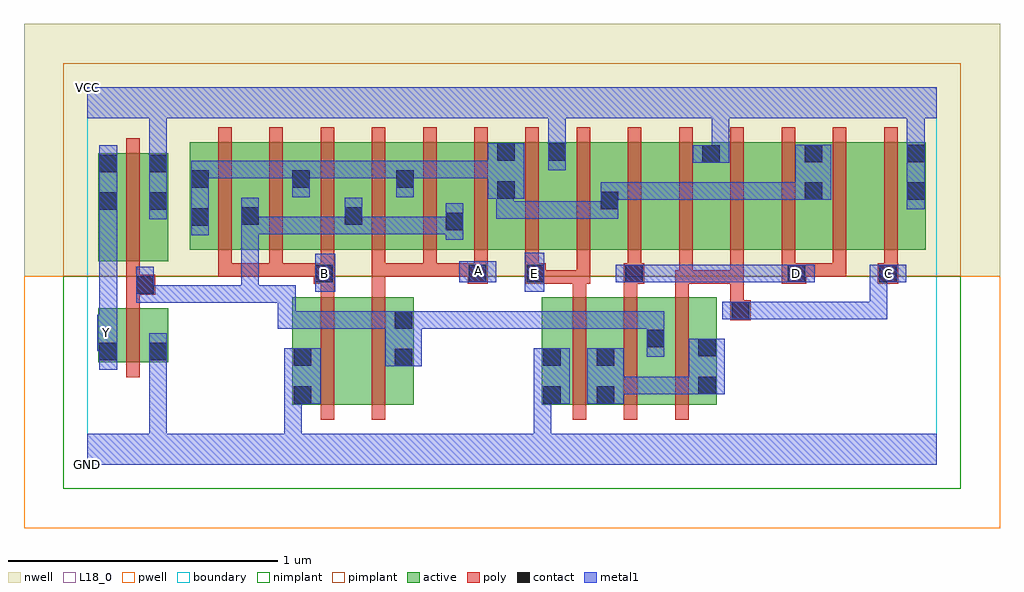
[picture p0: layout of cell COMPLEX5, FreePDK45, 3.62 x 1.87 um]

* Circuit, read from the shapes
.subckt COMPLEX5 A B C D E GND VCC Y
M1 GND n1 Y VSUBS nfet w=0.2u l=0.05u
M2 n2 B GND VSUBS nfet w=0.4u l=0.05u
M3 n1 A n2 VSUBS nfet w=0.4u l=0.05u
M4 n3 E GND VSUBS nfet w=0.4u l=0.05u
M5 n1 D n3 VSUBS nfet w=0.4u l=0.05u
M6 n3 C n1 VSUBS nfet w=0.4u l=0.05u
M7 VCC n1 Y n4 pfet w=0.4u l=0.05u
M8 n1 B n5 n4 pfet w=0.4u l=0.05u m=3
M9 n5 A n1 n4 pfet w=0.4u l=0.05u m=3
M10 VCC E n5 n4 pfet w=0.4u l=0.05u m=2
M11 n6 D n5 n4 pfet w=0.4u l=0.05u
M12 VCC C n6 n4 pfet w=0.4u l=0.05u
M13 n7 C VCC n4 pfet w=0.4u l=0.05u
M14 n5 D n7 n4 pfet w=0.4u l=0.05u
M15 n8 D n5 n4 pfet w=0.4u l=0.05u
M16 VCC C n8 n4 pfet w=0.4u l=0.05u
.ends

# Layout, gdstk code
import gdstk
lib = gdstk.Library(unit=1e-6, precision=1e-09)
def R(c, l, rs):  # rectangles x0, y0, x1, y1
    for r in rs: c.add(gdstk.rectangle(r[:2], r[2:], *l))
def A(c, l, x, y, w, h, nx, ny, dx, dy):  # array of equal rectangles
    R(c, l, [(x+i*dx, y+j*dy, x+i*dx+w, y+j*dy+h) for i in range(nx) for j in range(ny)])
active = (1, 0)
pwell = (2, 0)
nwell = (3, 0)
nimplant = (4, 0)
pimplant = (5, 0)
poly = (9, 0)
contact = (10, 0)
metal1 = (11, 0)
L18_0 = (18, 0)
boundary = (235, 0)

complex5 = lib.new_cell('COMPLEX5')
A(complex5, active, 0.38, 0.797, 0.075, 0.358, 3, 1, 0.76, 0)
A(complex5, active, 2.125, 0.797, 0.225, 0.4, 3, 1, 0.38, 0)
A(complex5, active, 2.275, 0.797, 0.075, 0.4, 3, 1, 0.38, 0)
R(complex5, active, [(0.76,0.222,0.835,0.622), (0.76,0.222,0.985,0.622), (0.985,0.222,1.21,0.622), (1.685,0.222,1.96,0.622), (1.685,0.222,1.76,0.622), (1.885,0.222,2.145,0.622), (1.885,0.222,1.96,0.492), (2.07,0.222,2.335,0.622), (1.135,0.245,1.21,0.622), (2.07,0.245,2.145,0.505), (2.26,0.245,2.335,0.622), (0.04,0.38,0.3,0.58), (0.225,0.38,0.3,0.58), (0.04,0.382,0.115,0.58), (0.04,0.755,0.3,1.155), (0.04,0.755,0.115,1.155), (0.225,0.755,0.3,1.155), (0.38,0.797,0.64,1.197), (0.565,0.797,0.83,1.197), (0.565,0.797,0.64,1.07), (0.755,0.797,1.025,1.197), (0.95,0.797,1.215,1.197), (0.95,0.797,1.025,1.07), (1.14,0.797,1.4,1.197), (1.325,0.797,1.59,1.197), (1.325,0.797,1.4,1.07), (1.515,0.797,1.78,1.197), (1.515,0.797,1.59,1.197), (1.705,0.797,1.78,1.197), (1.705,0.797,1.975,1.197), (1.9,0.797,2.125,1.197), (2.275,0.797,2.505,1.197), (2.655,0.797,2.885,1.197), (0.755,0.802,0.83,1.155)])
R(complex5, pwell, [(-0.235,-0.235,3.385,0.7)])
R(complex5, nwell, [(-0.235,0.7,3.385,1.635)])
R(complex5, nimplant, [(-0.09,-0.09,3.24,0.7)])
R(complex5, pimplant, [(-0.09,0.7,3.24,1.49)])
A(complex5, poly, 1.8, 0.167, 0.05, 0.51, 3, 1, 0.19, 0)
A(complex5, poly, 1.8, 0.627, 0.05, 0.095, 3, 1, 0.19, 0)
A(complex5, poly, 0.485, 0.697, 0.05, 0.095, 7, 1, 0.19, 0)
A(complex5, poly, 2.575, 0.697, 0.05, 0.095, 3, 1, 0.19, 0)
A(complex5, poly, 0.485, 0.742, 0.05, 0.51, 14, 1, 0.19, 0)
R(complex5, poly, [(0.865,0.167,0.915,0.677), (1.055,0.167,1.105,0.677), (0.145,0.325,0.195,0.635), (2.385,0.535,2.46,0.61), (2.385,0.56,2.435,0.722), (0.145,0.585,0.195,0.68), (0.865,0.627,0.915,0.722), (1.055,0.627,1.105,0.747), (0.145,0.63,0.252,0.705), (0.145,0.655,0.195,0.75), (0.84,0.672,0.915,0.747), (1.41,0.672,1.485,0.747), (1.625,0.672,1.7,0.747), (1.65,0.672,1.7,0.722), (1.65,0.672,1.7,0.722), (1.65,0.672,1.85,0.722), (1.8,0.672,1.865,0.722), (1.815,0.672,1.865,0.792), (1.99,0.672,2.065,0.747), (2.18,0.672,2.245,0.722), (2.195,0.672,2.245,0.722), (2.195,0.672,2.245,0.722), (2.195,0.672,2.245,0.792), (2.195,0.672,2.435,0.722), (2.385,0.672,2.435,0.722), (2.385,0.672,2.435,0.722), (2.385,0.672,2.435,0.722), (2.385,0.672,2.435,0.792), (2.575,0.672,2.667,0.747), (2.932,0.672,3.007,0.747), (0.485,0.697,0.535,0.747), (0.485,0.697,0.535,0.747), (0.485,0.697,0.535,0.747), (0.485,0.697,0.725,0.747), (0.675,0.697,0.725,0.747), (0.675,0.697,0.725,0.747), (0.675,0.697,0.725,0.747), (0.675,0.697,0.89,0.747), (1.055,0.697,1.105,0.747), (1.055,0.697,1.105,0.747), (1.055,0.697,1.105,0.747), (1.055,0.697,1.295,0.747), (1.245,0.697,1.295,0.747), (1.245,0.697,1.46,0.747), (1.41,0.697,1.46,0.747), (1.41,0.697,1.46,0.747), (2.005,0.697,2.055,0.792), (2.617,0.697,2.815,0.747), (2.765,0.697,2.815,0.747), (2.765,0.697,2.815,0.747), (2.765,0.697,2.815,0.747), (0.145,0.7,0.195,1.21)])
R(complex5, contact, [(0.765,0.227,0.83,0.292), (1.69,0.227,1.755,0.292), (1.89,0.227,1.955,0.292), (2.265,0.262,2.33,0.327), (1.14,0.365,1.205,0.43), (0.765,0.367,0.83,0.432), (1.69,0.367,1.755,0.432), (1.89,0.367,1.955,0.432), (0.045,0.387,0.11,0.452), (0.23,0.387,0.295,0.452), (2.265,0.402,2.33,0.467), (2.075,0.435,2.14,0.5), (1.14,0.505,1.205,0.57), (2.39,0.54,2.455,0.605), (0.182,0.635,0.247,0.7), (0.845,0.677,0.91,0.742), (1.415,0.677,1.48,0.742), (1.63,0.677,1.695,0.742), (1.995,0.677,2.06,0.742), (2.597,0.677,2.662,0.742), (2.937,0.677,3.002,0.742), (1.33,0.87,1.395,0.935), (0.385,0.887,0.45,0.952), (0.57,0.89,0.635,0.955), (0.955,0.89,1.02,0.955), (0.045,0.945,0.11,1.01), (0.23,0.945,0.295,1.01), (1.905,0.947,1.97,1.012), (2.66,0.982,2.725,1.047), (3.04,0.982,3.105,1.047), (1.52,0.987,1.585,1.052), (0.385,1.027,0.45,1.092), (0.76,1.027,0.825,1.092), (1.145,1.027,1.21,1.092), (0.045,1.085,0.11,1.15), (0.23,1.085,0.295,1.15), (2.28,1.12,2.345,1.185), (2.66,1.122,2.725,1.187), (3.04,1.122,3.105,1.187), (1.52,1.127,1.585,1.192), (1.71,1.127,1.775,1.192)])
R(complex5, metal1, [(0,0,3.15,0.115), (0.23,0.05,0.295,0.115), (0.23,0.05,0.295,0.115), (0.23,0.05,0.295,0.115), (0.23,0.05,0.295,0.115), (0.23,0.05,0.295,0.115), (0.23,0.05,0.295,0.115), (0.23,0.05,0.295,0.417), (0.73,0.05,0.795,0.115), (0.73,0.05,0.795,0.115), (0.73,0.05,0.795,0.292), (1.655,0.05,1.72,0.292), (0.73,0.227,0.865,0.432), (1.655,0.227,1.72,0.292), (1.655,0.227,1.72,0.292), (1.655,0.227,1.79,0.432), (1.855,0.227,1.99,0.432), (1.925,0.262,1.99,0.327), (1.925,0.262,1.99,0.327), (1.925,0.262,2.145,0.327), (2.08,0.262,2.145,0.327), (2.08,0.262,2.282,0.327), (2.217,0.262,2.282,0.327), (2.217,0.262,2.295,0.327), (2.23,0.262,2.365,0.467), (0.045,0.352,0.11,0.487), (0.23,0.352,0.295,0.487), (1.105,0.365,1.24,0.57), (2.075,0.4,2.14,0.535), (0.037,0.422,0.11,0.557), (0.045,0.422,0.11,0.487), (2.075,0.47,2.14,0.535), (2.075,0.47,2.14,0.57), (0.045,0.492,0.11,0.975), (0.707,0.505,0.772,0.57), (0.707,0.505,0.772,0.57), (0.707,0.505,0.772,0.57), (0.707,0.505,1.032,0.57), (0.707,0.505,0.772,0.665), (0.967,0.505,1.032,0.57), (0.967,0.505,1.032,0.57), (0.967,0.505,1.032,0.57), (0.967,0.505,1.17,0.57), (1.175,0.505,1.24,0.57), (1.175,0.505,1.24,0.57), (1.175,0.505,1.377,0.57), (1.312,0.505,1.377,0.57), (1.312,0.505,1.377,0.57), (1.312,0.505,1.377,0.57), (1.312,0.505,1.55,0.57), (1.485,0.505,1.55,0.57), (1.485,0.505,1.645,0.57), (1.58,0.505,1.645,0.57), (1.58,0.505,1.782,0.57), (1.717,0.505,1.782,0.57), (1.717,0.505,1.782,0.57), (1.717,0.505,1.782,0.57), (1.717,0.505,1.99,0.57), (1.925,0.505,1.99,0.57), (1.925,0.505,2.14,0.57), (2.355,0.54,2.49,0.605), (2.425,0.54,2.49,0.605), (2.425,0.54,2.49,0.605), (2.425,0.54,2.49,0.605), (2.425,0.54,2.49,0.605), (2.425,0.54,2.692,0.605), (2.627,0.54,2.692,0.605), (2.627,0.54,2.83,0.605), (2.765,0.54,2.83,0.605), (2.765,0.54,2.83,0.605), (2.765,0.54,2.83,0.605), (2.765,0.54,2.967,0.605), (2.902,0.54,2.967,0.605), (2.902,0.54,2.967,0.742), (0.182,0.6,0.247,0.665), (0.182,0.6,0.247,0.665), (0.182,0.6,0.247,0.735), (0.182,0.6,0.432,0.665), (0.367,0.6,0.432,0.665), (0.367,0.6,0.432,0.665), (0.367,0.6,0.432,0.665), (0.367,0.6,0.635,0.665), (0.57,0.6,0.635,0.665), (0.57,0.6,0.635,0.665), (0.57,0.6,0.635,0.665), (0.57,0.6,0.772,0.665), (0.57,0.6,0.635,0.92), (0.707,0.6,0.772,0.665), (0.845,0.642,0.92,0.782), (1.622,0.642,1.695,0.787), (1.38,0.677,1.517,0.755), (1.96,0.677,2.095,0.742), (2.03,0.677,2.127,0.742), (2.062,0.677,2.127,0.742), (2.062,0.677,2.282,0.742), (2.217,0.677,2.282,0.742), (2.217,0.677,2.282,0.742), (2.217,0.677,2.282,0.742), (2.217,0.677,2.42,0.742), (2.355,0.677,2.42,0.742), (2.355,0.677,2.42,0.742), (2.355,0.677,2.42,0.742), (2.355,0.677,2.627,0.742), (2.562,0.677,2.697,0.742), (2.902,0.677,2.967,0.742), (2.902,0.677,2.967,0.742), (2.902,0.677,3.037,0.742), (1.33,0.835,1.395,0.97), (0.385,0.852,0.45,1.127), (0.57,0.855,0.635,0.92), (0.57,0.855,0.635,0.92), (0.57,0.855,0.772,0.92), (0.57,0.855,0.635,0.99), (0.707,0.855,0.772,0.92), (0.707,0.855,0.772,0.92), (0.707,0.855,0.772,0.92), (0.707,0.855,1.02,0.92), (0.955,0.855,1.02,0.92), (0.955,0.855,1.02,0.92), (0.955,0.855,1.02,0.99), (0.955,0.855,1.24,0.92), (1.175,0.855,1.24,0.92), (1.175,0.855,1.24,0.92), (1.175,0.855,1.24,0.92), (1.175,0.855,1.395,0.92), (0.045,0.91,0.11,1.185), (0.23,0.91,0.295,1.185), (1.517,0.912,1.582,0.977), (1.517,0.912,1.645,0.977), (1.517,0.912,1.582,1.052), (1.58,0.912,1.645,0.977), (1.58,0.912,1.782,0.977), (1.717,0.912,1.782,0.977), (1.717,0.912,1.832,0.977), (1.767,0.912,1.832,0.977), (1.767,0.912,1.97,0.977), (1.905,0.912,1.97,1.047), (3.04,0.947,3.105,1.222), (1.905,0.982,1.97,1.047), (1.905,0.982,1.97,1.047), (1.905,0.982,2.127,1.047), (2.062,0.982,2.127,1.047), (2.062,0.982,2.282,1.047), (2.217,0.982,2.282,1.047), (2.217,0.982,2.282,1.047), (2.217,0.982,2.282,1.047), (2.217,0.982,2.42,1.047), (2.355,0.982,2.42,1.047), (2.355,0.982,2.42,1.047), (2.355,0.982,2.42,1.047), (2.355,0.982,2.69,1.047), (2.625,0.982,2.69,1.047), (2.625,0.982,2.69,1.047), (2.625,0.982,2.76,1.187), (1.485,0.987,1.62,1.192), (0.76,0.992,0.825,1.127), (1.145,0.992,1.21,1.127), (0.385,1.062,0.45,1.127), (0.385,1.062,0.45,1.127), (0.385,1.062,0.587,1.127), (0.522,1.062,0.587,1.127), (0.522,1.062,0.587,1.127), (0.522,1.062,0.587,1.127), (0.522,1.062,0.825,1.127), (0.76,1.062,0.825,1.127), (0.76,1.062,0.825,1.127), (0.76,1.062,1.032,1.127), (0.967,1.062,1.032,1.127), (0.967,1.062,1.032,1.127), (0.967,1.062,1.032,1.127), (0.967,1.062,1.21,1.127), (1.145,1.062,1.21,1.127), (1.145,1.062,1.21,1.127), (1.145,1.062,1.412,1.127), (1.347,1.062,1.412,1.127), (1.347,1.062,1.412,1.127), (1.347,1.062,1.412,1.127), (1.347,1.062,1.55,1.127), (1.71,1.092,1.775,1.227), (0.23,1.12,0.295,1.35), (2.245,1.12,2.38,1.185), (2.315,1.12,2.38,1.35), (3.04,1.157,3.105,1.35), (1.71,1.162,1.775,1.35), (0,1.285,3.15,1.4)])
R(complex5, L18_0, [(0,0,3.15,0.115), (0.23,0.05,0.295,0.115), (0.23,0.05,0.295,0.115), (0.23,0.05,0.295,0.115), (0.23,0.05,0.295,0.115), (0.23,0.05,0.295,0.115), (0.23,0.05,0.295,0.115), (0.23,0.05,0.295,0.417), (0.73,0.05,0.795,0.115), (0.73,0.05,0.795,0.115), (0.73,0.05,0.795,0.292), (1.655,0.05,1.72,0.292), (0.73,0.227,0.865,0.432), (1.655,0.227,1.72,0.292), (1.655,0.227,1.72,0.292), (1.655,0.227,1.79,0.432), (0.045,0.352,0.11,0.487), (0.23,0.352,0.295,0.487), (0.037,0.422,0.11,0.557), (0.045,0.422,0.11,0.487), (0.037,0.457,0.102,0.522), (0.045,0.492,0.11,0.975), (2.355,0.54,2.49,0.605), (2.425,0.54,2.49,0.605), (2.425,0.54,2.49,0.605), (2.425,0.54,2.49,0.605), (2.425,0.54,2.49,0.605), (2.425,0.54,2.692,0.605), (2.627,0.54,2.692,0.605), (2.627,0.54,2.83,0.605), (2.765,0.54,2.83,0.605), (2.765,0.54,2.83,0.605), (2.765,0.54,2.83,0.605), (2.765,0.54,2.967,0.605), (2.902,0.54,2.967,0.605), (2.902,0.54,2.967,0.742), (0.845,0.642,0.92,0.782), (1.622,0.642,1.695,0.787), (0.847,0.677,0.912,0.742), (1.38,0.677,1.517,0.755), (1.627,0.677,1.692,0.742), (1.96,0.677,2.095,0.742), (2.03,0.677,2.127,0.742), (2.062,0.677,2.127,0.742), (2.062,0.677,2.282,0.742), (2.217,0.677,2.282,0.742), (2.217,0.677,2.282,0.742), (2.217,0.677,2.282,0.742), (2.217,0.677,2.42,0.742), (2.355,0.677,2.42,0.742), (2.355,0.677,2.42,0.742), (2.355,0.677,2.42,0.742), (2.355,0.677,2.627,0.742), (2.562,0.677,2.697,0.742), (2.597,0.677,2.662,0.742), (2.902,0.677,2.967,0.742), (2.902,0.677,2.967,0.742), (2.902,0.677,3.037,0.742), (2.937,0.677,3.002,0.742), (1.417,0.687,1.482,0.752), (0.045,0.91,0.11,1.185), (0.23,0.91,0.295,1.185), (3.04,0.947,3.105,1.222), (1.71,1.092,1.775,1.227), (0.23,1.12,0.295,1.35), (2.245,1.12,2.38,1.185), (2.315,1.12,2.38,1.35), (3.04,1.157,3.105,1.35), (1.71,1.162,1.775,1.35), (0,1.285,3.15,1.4)])
R(complex5, boundary, [(0,0,3.15,1.4)])
complex5.add(gdstk.Label('A', (1.45,0.72), layer=11, texttype=0))
complex5.add(gdstk.Label('B', (0.88,0.71), layer=11, texttype=0))
complex5.add(gdstk.Label('C', (2.97,0.71), layer=11, texttype=0))
complex5.add(gdstk.Label('D', (2.63,0.71), layer=11, texttype=0))
complex5.add(gdstk.Label('E', (1.66,0.71), layer=11, texttype=0))
complex5.add(gdstk.Label('Y', (0.07,0.49), layer=11, texttype=0))
complex5.add(gdstk.Label('VCC', (0,1.4), layer=11, texttype=0))
complex5.add(gdstk.Label('GND', (0,0), layer=11, texttype=0))

lib.write_gds('COMPLEX5.gds')
